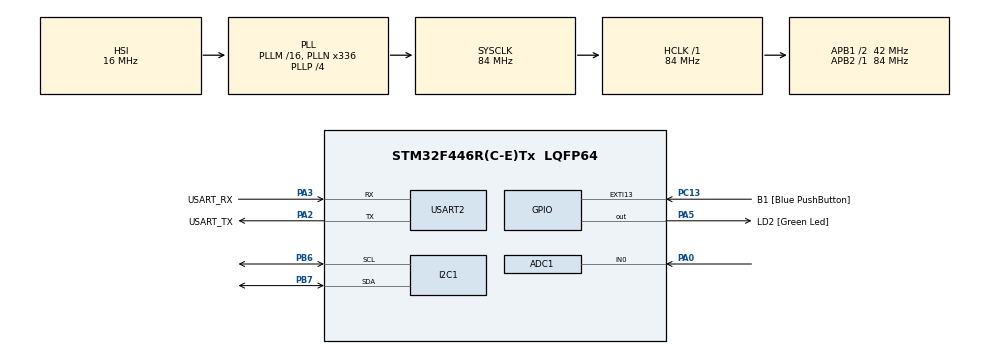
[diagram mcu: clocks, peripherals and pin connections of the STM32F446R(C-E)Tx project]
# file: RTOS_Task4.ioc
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ADC1.Channel-0\#ChannelRegularConversion=ADC_CHANNEL_0
ADC1.ClockPrescaler=ADC_CLOCK_SYNC_PCLK_DIV8
ADC1.NbrOfConversionFlag=1
ADC1.Rank-0\#ChannelRegularConversion=1
ADC1.SamplingTime-0\#ChannelRegularConversion=ADC_SAMPLETIME_3CYCLES
ADC1.master=1
FREERTOS.Mutexes01=myBufferMutex,Dynamic,NULL
FREERTOS.Tasks01=defaultTask,24,128,StartDefaultTask,Default,NULL,Dynamic,NULL,NULL;myTaskMonitor,40,2048,StartTaskMonitor,Default,NULL,Dynamic,NULL,NULL;myTaskSensor1,24,128,StartTaskSensor1,Default,NULL,Dynamic,NULL,NULL;myTaskSensor2,24,128,StartTaskSensor2,Default,NULL,Dynamic,NULL,NULL
FREERTOS.configENABLE_FPU=1
FREERTOS.configUSE_NEWLIB_REENTRANT=1
Mcu.Family=STM32F4
Mcu.Name=STM32F446R(C-E)Tx
Mcu.Package=LQFP64
NVIC.ADC_IRQn=true\:5\:0\:false\:false\:true\:true\:true\:true\:true
NVIC.PriorityGroup=NVIC_PRIORITYGROUP_4
NVIC.TIM3_IRQn=true\:15\:0\:false\:false\:true\:false\:false\:true\:true
NVIC.TimeBase=TIM3_IRQn
NVIC.TimeBaseIP=TIM3
PA0-WKUP.Signal=ADCx_IN0
PA13.GPIO_Label=TMS
PA13.Mode=Serial_Wire
PA13.Signal=SYS_JTMS-SWDIO
PA14.GPIO_Label=TCK
PA14.Mode=Serial_Wire
PA14.Signal=SYS_JTCK-SWCLK
PA2.GPIO_Label=USART_TX
PA2.Mode=Asynchronous
PA2.Signal=USART2_TX
PA3.GPIO_Label=USART_RX
PA3.Mode=Asynchronous
PA3.Signal=USART2_RX
PA5.GPIO_Label=LD2 [Green Led]
PA5.Signal=GPIO_Output
PB3.GPIO_Label=SWO
PB3.Signal=SYS_JTDO-SWO
PB6.Mode=I2C
PB6.Signal=I2C1_SCL
PB7.Mode=I2C
PB7.Signal=I2C1_SDA
PC13.GPIO_Label=B1 [Blue PushButton]
PC13.GPIO_ModeDefaultEXTI=GPIO_MODE_IT_FALLING
PC13.Signal=GPXTI13
PC14-OSC32_IN.Signal=RCC_OSC32_IN
PC15-OSC32_OUT.Signal=RCC_OSC32_OUT
PH0-OSC_IN.Signal=RCC_OSC_IN
PH1-OSC_OUT.Signal=RCC_OSC_OUT
ProjectManager.HeapSize=0x200
ProjectManager.StackSize=0x400
ProjectManager.TargetToolchain=STM32CubeIDE
RCC.AHBFreq_Value=84000000
RCC.APB1CLKDivider=RCC_HCLK_DIV2
RCC.APB1Freq_Value=42000000
RCC.APB1TimFreq_Value=84000000
RCC.APB2Freq_Value=84000000
RCC.APB2TimFreq_Value=84000000
RCC.CortexFreq_Value=84000000
RCC.FLatency-AdvancedSettings=FLASH_LATENCY_2
RCC.HCLKFreq_Value=84000000
RCC.HSE_VALUE=8000000
RCC.HSI_VALUE=16000000
RCC.LSE_VALUE=32768
RCC.PLLN=336
RCC.PLLP=RCC_PLLP_DIV4
RCC.SYSCLKFreq_VALUE=84000000
RCC.SYSCLKSource=RCC_SYSCLKSOURCE_PLLCLK
RCC.USBFreq_Value=168000000
RCC.VCOOutputFreq_Value=336000000
SH.ADCx_IN0.0=ADC1_IN0,IN0
USART2.VirtualMode=VM_ASYNC
VP_FREERTOS_VS_CMSIS_V2.Mode=CMSIS_V2
VP_SYS_VS_tim3.Mode=TIM3
board=NUCLEO-F446RE

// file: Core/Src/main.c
/* USER CODE BEGIN Header */
/**
  ******************************************************************************
  * @file           : main.c
  * @brief          : Main program body
  ******************************************************************************
  * @attention
  *
  * Copyright (c) 2023 STMicroelectronics.
  * All rights reserved.
  *
  * This software is licensed under terms that can be found in the LICENSE file
  * in the root directory of this software component.
  * If no LICENSE file comes with this software, it is provided AS-IS.
  *
  ******************************************************************************
  */
/* USER CODE END Header */
#include "main.h"
#include "cmsis_os.h"
#include "adc.h"
#include "i2c.h"
#include "usart.h"
#include "gpio.h"

void SystemClock_Config(void);
void MX_FREERTOS_Init(void);

int main(void)
{

  /* MCU Configuration--------------------------------------------------------*/

  /* Reset of all peripherals, Initializes the Flash interface and the Systick. */
  HAL_Init();

  /* Configure the system clock */
  SystemClock_Config();

  /* Initialize all configured peripherals */
  MX_GPIO_Init();
  MX_ADC1_Init();
  MX_I2C1_Init();
  MX_USART2_UART_Init();
  /* USER CODE BEGIN 2 */
  I2C_DEV_init();
  /* USER CODE END 2 */

  /* Init scheduler */
  osKernelInitialize();  /* Call init function for freertos objects (in freertos.c) */
  MX_FREERTOS_Init();

  /* Start scheduler */
  osKernelStart();
  /* We should never get here as control is now taken by the scheduler */
  /* Infinite loop */
  while (1)
  {

  }
}

void SystemClock_Config(void)
{
  RCC_OscInitTypeDef RCC_OscInitStruct = {0};
  RCC_ClkInitTypeDef RCC_ClkInitStruct = {0};

  /** Configure the main internal regulator output voltage
  */
  __HAL_RCC_PWR_CLK_ENABLE();
  __HAL_PWR_VOLTAGESCALING_CONFIG(PWR_REGULATOR_VOLTAGE_SCALE3);

  /** Initializes the RCC Oscillators according to the specified parameters
  * in the RCC_OscInitTypeDef structure.
  */
  RCC_OscInitStruct.OscillatorType = RCC_OSCILLATORTYPE_HSI;
  RCC_OscInitStruct.HSIState = RCC_HSI_ON;
  RCC_OscInitStruct.HSICalibrationValue = RCC_HSICALIBRATION_DEFAULT;
  RCC_OscInitStruct.PLL.PLLState = RCC_PLL_ON;
  RCC_OscInitStruct.PLL.PLLSource = RCC_PLLSOURCE_HSI;
  RCC_OscInitStruct.PLL.PLLM = 16;
  RCC_OscInitStruct.PLL.PLLN = 336;
  RCC_OscInitStruct.PLL.PLLP = RCC_PLLP_DIV4;
  RCC_OscInitStruct.PLL.PLLQ = 2;
  RCC_OscInitStruct.PLL.PLLR = 2;
  if (HAL_RCC_OscConfig(&RCC_OscInitStruct) != HAL_OK)
  {
    Error_Handler();
  }

  /** Initializes the CPU, AHB and APB buses clocks
  */
  RCC_ClkInitStruct.ClockType = RCC_CLOCKTYPE_HCLK|RCC_CLOCKTYPE_SYSCLK
                              |RCC_CLOCKTYPE_PCLK1|RCC_CLOCKTYPE_PCLK2;
  RCC_ClkInitStruct.SYSCLKSource = RCC_SYSCLKSOURCE_PLLCLK;
  RCC_ClkInitStruct.AHBCLKDivider = RCC_SYSCLK_DIV1;
  RCC_ClkInitStruct.APB1CLKDivider = RCC_HCLK_DIV2;
  RCC_ClkInitStruct.APB2CLKDivider = RCC_HCLK_DIV1;

  if (HAL_RCC_ClockConfig(&RCC_ClkInitStruct, FLASH_LATENCY_2) != HAL_OK)
  {
    Error_Handler();
  }
}

void HAL_TIM_PeriodElapsedCallback(TIM_HandleTypeDef *htim)
{
  if (htim->Instance == TIM3) {
    HAL_IncTick();
  }
}

void Error_Handler(void)
{
  __disable_irq();
  while (1)
  {
  }
}

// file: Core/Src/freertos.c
/* USER CODE BEGIN Header */
/**
  ******************************************************************************
  * File Name          : freertos.c
  * Description        : Code for freertos applications
  ******************************************************************************
  * @attention
  *
  * Copyright (c) 2023 STMicroelectronics.
  * All rights reserved.
  *
  * This software is licensed under terms that can be found in the LICENSE file
  * in the root directory of this software component.
  * If no LICENSE file comes with this software, it is provided AS-IS.
  *
  ******************************************************************************
  */
/* USER CODE END Header */

#include "FreeRTOS.h"
#include "task.h"
#include "main.h"
#include "cmsis_os.h"

/* USER CODE BEGIN Includes */
#include "stream_buffer.h"
#include "usart.h"
#include "adc.h"
/* USER CODE END Includes */

/* USER CODE BEGIN PD */
#define ADC_TRESHOLD 2048
#define BUFFER_SIZE 1024
/* USER CODE END PD */

/* USER CODE BEGIN Variables */
StreamBufferHandle_t streamBuffer;
/* USER CODE END Variables */
/* Definitions for defaultTask */
osThreadId_t defaultTaskHandle;
const osThreadAttr_t defaultTask_attributes = {
  .name = "defaultTask",
  .stack_size = 128 * 4,
  .priority = (osPriority_t) osPriorityNormal,
};
/* Definitions for myTaskMonitor */
osThreadId_t myTaskMonitorHandle;
const osThreadAttr_t myTaskMonitor_attributes = {
  .name = "myTaskMonitor",
  .stack_size = 2048 * 4,
  .priority = (osPriority_t) osPriorityHigh,
};
/* Definitions for myTaskSensor1 */
osThreadId_t myTaskSensor1Handle;
const osThreadAttr_t myTaskSensor1_attributes = {
  .name = "myTaskSensor1",
  .stack_size = 128 * 4,
  .priority = (osPriority_t) osPriorityNormal,
};
/* Definitions for myTaskSensor2 */
osThreadId_t myTaskSensor2Handle;
const osThreadAttr_t myTaskSensor2_attributes = {
  .name = "myTaskSensor2",
  .stack_size = 128 * 4,
  .priority = (osPriority_t) osPriorityNormal,
};
/* Definitions for myBufferMutex */
osMutexId_t myBufferMutexHandle;
const osMutexAttr_t myBufferMutex_attributes = {
  .name = "myBufferMutex"
};

void StartDefaultTask(void *argument);
void StartTaskMonitor(void *argument);
void StartTaskSensor1(void *argument);
void StartTaskSensor2(void *argument);

void MX_FREERTOS_Init(void); /* (MISRA C 2004 rule 8.1) */

void MX_FREERTOS_Init(void) {
  /* USER CODE BEGIN Init */
	streamBuffer = xStreamBufferGenericCreate(BUFFER_SIZE, 1, pdFALSE);
  /* USER CODE END Init */
  /* Create the mutex(es) */
  /* creation of myBufferMutex */
  myBufferMutexHandle = osMutexNew(&myBufferMutex_attributes);

  /* Create the thread(s) */
  /* creation of defaultTask */
  defaultTaskHandle = osThreadNew(StartDefaultTask, NULL, &defaultTask_attributes);

  /* creation of myTaskMonitor */
  myTaskMonitorHandle = osThreadNew(StartTaskMonitor, NULL, &myTaskMonitor_attributes);

  /* creation of myTaskSensor1 */
  myTaskSensor1Handle = osThreadNew(StartTaskSensor1, NULL, &myTaskSensor1_attributes);

  /* creation of myTaskSensor2 */
  myTaskSensor2Handle = osThreadNew(StartTaskSensor2, NULL, &myTaskSensor2_attributes);

  /* USER CODE BEGIN RTOS_THREADS */
  /* add threads, ... */
  HAL_ADC_Start_IT(&hadc1);
  /* USER CODE END RTOS_THREADS */

}

void StartDefaultTask(void *argument)
{
  for(;;)
  {
    osDelay(1);
  }
}

void StartTaskMonitor(void *argument)
{
  /* USER CODE BEGIN StartTaskMonitor */
	//Buffer with the same
	uint8_t message[BUFFER_SIZE];
	uint16_t messageLen = 0;
  /* Infinite loop */
  for(;;)
  {
	  // check if something in the buffer
	  if ( !xStreamBufferIsEmpty(streamBuffer))
	  {

		  messageLen = xStreamBufferBytesAvailable(streamBuffer);
		  xStreamBufferReceive(streamBuffer, message, messageLen, pdMS_TO_TICKS(0));
		  HAL_UART_Transmit(&huart2, message, messageLen, HAL_MAX_DELAY);
	  }
    osDelay(1);
  }
  /* USER CODE END StartTaskMonitor */
}

void StartTaskSensor1(void *argument)
{
  /* USER CODE BEGIN StartTaskSensor1 */
	uint32_t lux;
	uint8_t buf[32];
  /* Infinite loop */
  for(;;)
  {
	  osMutexWait(myBufferMutexHandle, osWaitForever);
	  lux = calculateLux();

	  sprintf(buf, "Sensor1: Lux = %d\n\r", lux);

	  xStreamBufferSend(streamBuffer, buf, strlen(buf), pdMS_TO_TICKS(10));

	  osMutexRelease(myBufferMutexHandle);

	  osDelay(1);
  }
  /* USER CODE END StartTaskSensor1 */
}

void StartTaskSensor2(void *argument)
{
  /* USER CODE BEGIN StartTaskSensor2 */
	uint32_t lux;
	uint8_t buf[32];
  /* Infinite loop */
  for(;;)
  {
	  osMutexWait(myBufferMutexHandle, osWaitForever);
	  lux = calculateLux();

	  sprintf(buf, "Sensor2: Lux = %d\n\r", lux);

	  xStreamBufferSend(streamBuffer, buf, strlen(buf), pdMS_TO_TICKS(10));

	  osMutexRelease(myBufferMutexHandle);
    osDelay(1);
  }
  /* USER CODE END StartTaskSensor2 */
}

/* USER CODE BEGIN Application */
void HAL_ADC_ConvCpltCallback(ADC_HandleTypeDef *hadc)
{
	if (HAL_ADC_GetValue(hadc) > ADC_TRESHOLD)
	{
		osMutexWait(myBufferMutexHandle, osWaitForever);

		xStreamBufferSendFromISR(streamBuffer, "ADC value extend the treshold\n\r", strlen("ADC value extend the treshold\n\r"), NULL);

		osMutexRelease(myBufferMutexHandle);
	}

	HAL_ADC_Start_IT(hadc);
}
/* USER CODE END Application */
